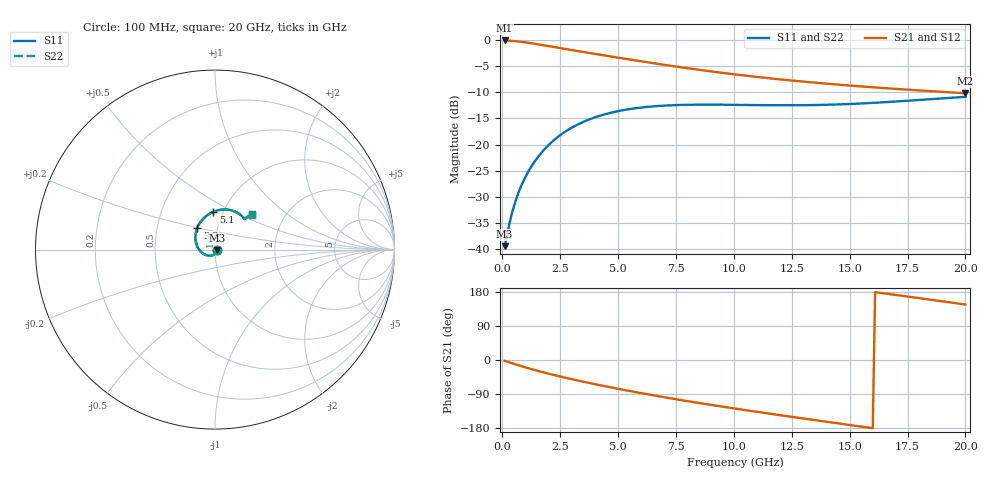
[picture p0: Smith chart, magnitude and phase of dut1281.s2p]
! Touchstone file exported from HFSS 2024.1.0
!  File:  C:/UserFiles/LocalFiles/RDL_TSV_Batchsim/temp_RDL_TSV_1281_1780277609.aedt
!  Generated:  09:47:52 AM Jun  1, 2026
!  Design:  RDL_TSV
!  Project:  temp_RDL_TSV_1281_1780277609
!  Setup:  Setup1
!  Solution:  Sweep
! Variables:
!  dtsv = 11.52um
!  hbump = 3um
!  htsv = 98.57um
!  ldown = 443.29um
!  lrdl = 377.55um
!  p = 40
!  p1 = 54.34um
!  rhole = 10um
!  subl = 2840.07um
!  t = 450um
!  tdown = 4.27um
!  trdl = 4.14um
!  viad = 10um
!  wdown = 29.08um
!  wrdl = 26.36um
!  xbump = 18um
# GHz S MA R 50.000000
! Terminal data exported
! Port[1] = TM1_1_T1
! Port[2] = TM1_4_T1
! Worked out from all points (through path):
!   200 points, 100 MHz to 20 GHz, reference 50 ohm
!   highest |S21| = -0.09 dB at 100 MHz (marker M1); lowest = -10.2 dB at 20 GHz (marker M2)
!   group delay of S21, straight-line fit = 27.8 ps
!   lowest |S11| = -39.5 dB at 100 MHz (marker M3), VSWR 1.02, Z = 50.9 - j0.505 ohm
!   |S11| at or under -10 dB: start of sweep to end of sweep
!   |S22| runs from -39.5 to -10.9 dB; largest |S21 - S12| = 1.3e-14
!   S11 on the Smith chart (normalised r, x): 100 MHz: 1.02, -0.01; 3.3 GHz: 0.80, +0.20; 5.1 GHz: 0.90, +0.40; 20 GHz: 1.38, +0.59
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0.1  0.01065 -27.7  0.9895 -2.1  0.9895 -2.1  0.01065 -27.7
! Gamma 0 0 0 0
! Port Impedance 50 0 50 0
0.3  0.01716 -70.0  0.9847 -6.1  0.9847 -6.1  0.01717 -70.0
0.4  0.02123 -84.1  0.9813 -8.1  0.9813 -8.1  0.02124 -84.1
0.6  0.03004 -105.5  0.9727 -12.0  0.9727 -12.0  0.03005 -105.5
0.9  0.04415 -129.7  0.9557 -17.7  0.9557 -17.7  0.04415 -129.6
1.2  0.05887 -149.2  0.935 -23.1  0.935 -23.1  0.05883 -149.0
1.6  0.07891 -170.8  0.9047 -29.8  0.9047 -29.8  0.07881 -170.7
2.1  0.1038 167.0  0.866 -37.7  0.866 -37.7  0.1036 167.1
2.7  0.1319 145.6  0.8217 -46.4  0.8217 -46.4  0.1316 145.8
3.3  0.1571 128.5  0.7805 -54.7  0.7805 -54.7  0.1566 128.6
3.5  0.1647 123.5  0.7674 -57.3  0.7674 -57.3  0.1642 123.6
4.3  0.191 106.3  0.7177 -67.5  0.7177 -67.5  0.1903 106.4
5.1  0.2107 92.7  0.6719 -77.2  0.6719 -77.2  0.2099 92.8
5.9  0.2245 81.7  0.6298 -86.4  0.6298 -86.4  0.2236 81.8
6.8  0.2341 71.8  0.5868 -96.2  0.5868 -96.2  0.2331 71.9
8.4  0.2405 59.3  0.5217 -112.5  0.5217 -112.5  0.2395 59.4
10.1  0.2396 51.4  0.4669 -128.6  0.4669 -128.6  0.2386 51.5
11.7  0.2375 47.4  0.4263 -143.0  0.4263 -143.0  0.2366 47.5
13.4  0.2383 45.8  0.3923 -157.8  0.3923 -157.8  0.2375 45.9
15  0.2441 45.5  0.3664 -171.5  0.3664 -171.5  0.2433 45.6
16.7  0.2554 45.3  0.3438 174.1  0.3438 174.1  0.2547 45.4
20  0.2857 43.3  0.3096 146.4  0.3096 146.4  0.2849 43.3
